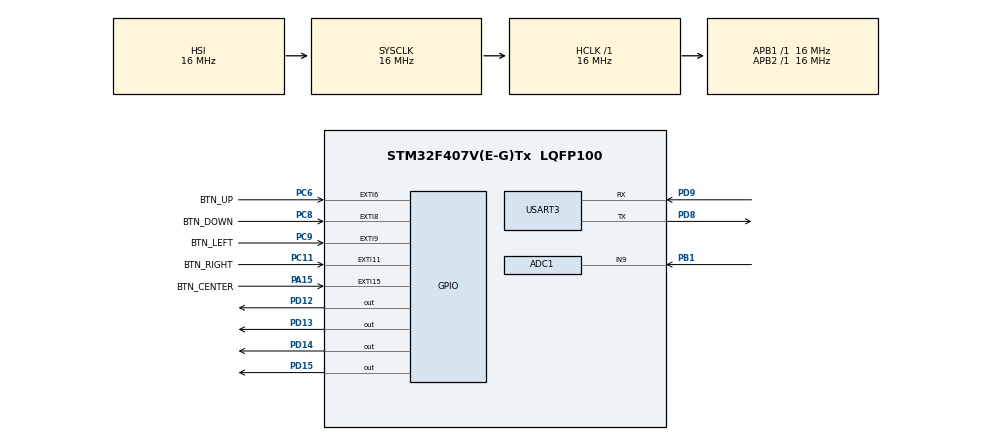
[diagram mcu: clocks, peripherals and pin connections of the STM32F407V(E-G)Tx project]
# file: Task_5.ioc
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ADC1.Channel-0\#ChannelRegularConversion=ADC_CHANNEL_9
ADC1.DMAContinuousRequests=ENABLE
ADC1.EOCSelection=ADC_EOC_SEQ_CONV
ADC1.ExternalTrigConv=ADC_EXTERNALTRIGCONV_T8_TRGO
ADC1.NbrOfConversionFlag=1
ADC1.Rank-0\#ChannelRegularConversion=1
ADC1.SamplingTime-0\#ChannelRegularConversion=ADC_SAMPLETIME_480CYCLES
ADC1.ScanConvMode=ENABLE
ADC1.master=1
Dma.ADC1.0.Direction=DMA_PERIPH_TO_MEMORY
Dma.ADC1.0.FIFOMode=DMA_FIFOMODE_DISABLE
Dma.ADC1.0.Instance=DMA2_Stream0
Dma.ADC1.0.MemDataAlignment=DMA_MDATAALIGN_HALFWORD
Dma.ADC1.0.MemInc=DMA_MINC_ENABLE
Dma.ADC1.0.Mode=DMA_CIRCULAR
Dma.ADC1.0.PeriphDataAlignment=DMA_PDATAALIGN_HALFWORD
Dma.ADC1.0.PeriphInc=DMA_PINC_DISABLE
Dma.ADC1.0.Priority=DMA_PRIORITY_LOW
Dma.Request0=ADC1
Mcu.Family=STM32F4
Mcu.Name=STM32F407V(E-G)Tx
Mcu.Package=LQFP100
NVIC.DMA2_Stream0_IRQn=true\:0\:0\:false\:false\:true\:false\:true
NVIC.EXTI15_10_IRQn=true\:0\:0\:false\:false\:true\:true\:true
NVIC.EXTI9_5_IRQn=true\:0\:0\:false\:false\:true\:true\:true
NVIC.PriorityGroup=NVIC_PRIORITYGROUP_4
NVIC.TIM3_IRQn=true\:1\:0\:true\:false\:true\:true\:true
NVIC.TIM4_IRQn=true\:0\:0\:false\:false\:true\:true\:true
NVIC.USART3_IRQn=true\:0\:0\:false\:false\:true\:true\:true
PA15.GPIO_Label=BTN_CENTER
PA15.GPIO_ModeDefaultEXTI=GPIO_MODE_IT_FALLING
PA15.GPIO_PuPd=GPIO_PULLDOWN
PA15.Signal=GPXTI15
PB1.Signal=ADCx_IN9
PC11.GPIO_Label=BTN_RIGHT
PC11.GPIO_ModeDefaultEXTI=GPIO_MODE_IT_FALLING
PC11.GPIO_PuPd=GPIO_PULLDOWN
PC11.Signal=GPXTI11
PC6.GPIO_Label=BTN_UP
PC6.GPIO_ModeDefaultEXTI=GPIO_MODE_IT_FALLING
PC6.GPIO_PuPd=GPIO_PULLDOWN
PC6.Signal=GPXTI6
PC8.GPIO_Label=BTN_DOWN
PC8.GPIO_ModeDefaultEXTI=GPIO_MODE_IT_FALLING
PC8.GPIO_PuPd=GPIO_PULLDOWN
PC8.Signal=GPXTI8
PC9.GPIO_Label=BTN_LEFT
PC9.GPIO_ModeDefaultEXTI=GPIO_MODE_IT_FALLING
PC9.GPIO_PuPd=GPIO_PULLDOWN
PC9.Signal=GPXTI9
PD12.Signal=GPIO_Output
PD13.Signal=GPIO_Output
PD14.Signal=GPIO_Output
PD15.Signal=GPIO_Output
PD8.Mode=Asynchronous
PD8.Signal=USART3_TX
PD9.Mode=Asynchronous
PD9.Signal=USART3_RX
ProjectManager.HeapSize=0x200
ProjectManager.StackSize=0x400
ProjectManager.TargetToolchain=STM32CubeIDE
RCC.AHBFreq_Value=16000000
RCC.APB1Freq_Value=16000000
RCC.APB2Freq_Value=16000000
RCC.CortexFreq_Value=16000000
RCC.HSE_VALUE=25000000
RCC.HSI_VALUE=16000000
RCC.LSE_VALUE=32768
RCC.SYSCLKFreq_VALUE=16000000
RCC.VCOOutputFreq_Value=192000000
SH.ADCx_IN9.0=ADC1_IN9,IN9
TIM3.AutoReloadPreload=TIM_AUTORELOAD_PRELOAD_ENABLE
TIM3.Period=200
TIM3.Prescaler=1600
TIM3.TIM_MasterOutputTrigger=TIM_TRGO_RESET
TIM4.AutoReloadPreload=TIM_AUTORELOAD_PRELOAD_ENABLE
TIM4.Period=50000
TIM4.Prescaler=1600
TIM8.Period=1000
TIM8.Prescaler=160
TIM8.TIM_MasterOutputTrigger=TIM_TRGO_UPDATE
USART3.VirtualMode=VM_ASYNC
VP_TIM3_VS_ClockSourceINT.Mode=Internal
VP_TIM4_VS_ClockSourceINT.Mode=Internal
VP_TIM8_VS_ClockSourceINT.Mode=Internal
board=custom

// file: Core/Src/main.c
/* USER CODE BEGIN Header */
/**
  ******************************************************************************
  * @file           : main.c
  * @brief          : Main program body
  ******************************************************************************
  * @attention
  *
  * <h2><center>&copy; Copyright (c) 2021 STMicroelectronics.
  * All rights reserved.</center></h2>
  *
  * This software component is licensed by ST under BSD 3-Clause license,
  * the "License"; You may not use this file except in compliance with the
  * License. You may obtain a copy of the License at:
  *                        opensource.org/licenses/BSD-3-Clause
  *
  ******************************************************************************
  */
/* USER CODE END Header */
#include "main.h"

/* USER CODE BEGIN Includes */
#include <string.h>
#include <stdio.h>
/* USER CODE END Includes */

/* USER CODE BEGIN PD */
#define BRD_VOLTAGE 3000 // 3000mV

#define ADC_AVERAGE 32
#define ADC_BUF_SIZE ADC_AVERAGE

#define NUMBER_OF_LEDS 4

/* USER CODE END PD */

ADC_HandleTypeDef hadc1;
DMA_HandleTypeDef hdma_adc1;

TIM_HandleTypeDef htim3;
TIM_HandleTypeDef htim4;
TIM_HandleTypeDef htim8;

UART_HandleTypeDef huart3;

/* USER CODE BEGIN PV */
uint32_t tempValues[ADC_BUF_SIZE]; // adc temperature measurements
int32_t externalSensorTemp = 0; // final external sensor voltage
const uint16_t ledPin[NUMBER_OF_LEDS] = {GPIO_PIN_12, GPIO_PIN_13, GPIO_PIN_14, GPIO_PIN_15};

/* USER CODE END PV */
void SystemClock_Config(void);
static void MX_GPIO_Init(void);
static void MX_TIM4_Init(void);
static void MX_DMA_Init(void);
static void MX_ADC1_Init(void);
static void MX_TIM8_Init(void);
static void MX_USART3_UART_Init(void);
static void MX_TIM3_Init(void);
/* USER CODE BEGIN PFP */
static void transmitLedStatus(GPIO_TypeDef *GPIOx, uint16_t GPIO_Pin, char btnStrOn[32], char btnStrOff[32]);
static void receiveCommand(void);
static void transmitTemperature(int32_t temperature);
static int32_t adcVoltToTemp(void);

/* USER CODE END PFP */

/* USER CODE BEGIN 0 */

void HAL_TIM_PeriodElapsedCallback(TIM_HandleTypeDef *htim)
{
	//Reloading Timer4 every 5 seconds
	if (htim == &htim4 )
	{
		/*Starting Timer8 for ADC's DMA circular reading using Timer4 interrupt */
		HAL_TIM_Base_Start(&htim8);
		HAL_ADC_Start_DMA(&hadc1, (uint32_t *)tempValues, ADC_BUF_SIZE);
	}
	// Pooling UART using Timer3 with secondary priority every 0.02 seconds
	if (htim == &htim3 )
	{
		receiveCommand();
	}
}

static void receiveCommand(void)
{
	char rcvBuf;

	HAL_StatusTypeDef result = HAL_UART_Receive(&huart3, (uint8_t*)&rcvBuf, 1, 10);

	if (result == HAL_OK)
	{
		switch (rcvBuf)
		{
		case '1':
			transmitLedStatus(GPIOD, ledPin[2], "Red LED is On\r\n", "Red LED is Off\r\n");
			break;
		case '2':
			transmitLedStatus(GPIOD, ledPin[3], "Blue LED is On\r\n", "Blue LED is Off\r\n");
			break;
		case '3':
			transmitLedStatus(GPIOD, ledPin[0], "Green LED is On\r\n", "Green LED is Off\r\n");
			break;
		case '4':
			transmitLedStatus(GPIOD, ledPin[1], "Orange LED is On\r\n", "Orange LED is Off\r\n");
			break;
		default:
			HAL_UART_Transmit(&huart3, (uint8_t*) "Unrecognized key\r\n", 15 + 2, 10);
			break;
		}
	}
}

void HAL_ADC_ConvCpltCallback(ADC_HandleTypeDef* hadc)
{

	transmitTemperature(adcVoltToTemp());

	HAL_TIM_Base_Stop(&htim8);
}

static void transmitTemperature(int32_t temperature)
{
	static char tempStr[128];

	snprintf(tempStr, sizeof(tempStr), "Temperature: %d.%d C\r\n", (int)(externalSensorTemp / 10), (int)(externalSensorTemp % 10));
	HAL_UART_Transmit(&huart3, (uint8_t*) tempStr, strlen(tempStr), 10);
}

void HAL_GPIO_EXTI_Callback(uint16_t GPIO_Pin)
{
	switch (GPIO_Pin)
	{
	case BTN_LEFT_Pin:
		transmitLedStatus(GPIOD, ledPin[1], "Orange LED is On\r\n", "Orange LED is Off\r\n");
		break;
	case BTN_DOWN_Pin:
		transmitLedStatus(GPIOD, ledPin[2], "Red LED is On\r\n", "Red LED is Off\r\n");
		break;
	case BTN_RIGHT_Pin:
		transmitLedStatus(GPIOD, ledPin[3], "Blue LED is On\r\n", "Blue LED is Off\r\n");
		break;
	case BTN_UP_Pin:
		transmitLedStatus(GPIOD, ledPin[0], "Green LED is On\r\n", "Green LED is Off\r\n");
		break;
	case BTN_CENTER_Pin:
		HAL_UART_Transmit(&huart3, (uint8_t*) "Unrecognized button\r\n", 19 + 2, 10);
		break;
	}
}

static int32_t adcVoltToTemp(void)
{
	uint16_t *sensBuffer = (uint16_t*)tempValues;

	for (uint8_t i = 0; i < ADC_AVERAGE; i++)
	{
		externalSensorTemp += *sensBuffer++;
	}

	externalSensorTemp = (externalSensorTemp * BRD_VOLTAGE / ADC_AVERAGE) >> 12;
	externalSensorTemp = (-externalSensorTemp * 100) / 200 + 980 ;

	return externalSensorTemp;
}

static void transmitLedStatus(GPIO_TypeDef *GPIOx, uint16_t GPIO_Pin, char btnStrOn[32], char btnStrOff[32] )
{
	if (HAL_GPIO_ReadPin(GPIOx, GPIO_Pin) == GPIO_PIN_RESET)
	{
		HAL_UART_Transmit(&huart3, (uint8_t*) btnStrOn,  strlen(btnStrOn), 10);
	}
	else
	{
		HAL_UART_Transmit(&huart3, (uint8_t*) btnStrOff, strlen(btnStrOff), 10);
	}

	HAL_GPIO_TogglePin(GPIOx, GPIO_Pin);
}

/* USER CODE END 0 */

int main(void)
{

  /* MCU Configuration--------------------------------------------------------*/

  /* Reset of all peripherals, Initializes the Flash interface and the Systick. */
  HAL_Init();

  /* Configure the system clock */
  SystemClock_Config();

  /* Initialize all configured peripherals */
  MX_GPIO_Init();
  MX_TIM4_Init();
  MX_DMA_Init();
  MX_ADC1_Init();
  MX_TIM8_Init();
  MX_USART3_UART_Init();
  MX_TIM3_Init();
  /* USER CODE BEGIN 2 */
  HAL_TIM_Base_Start_IT(&htim4);
  HAL_TIM_Base_Start_IT(&htim3);

  /* USER CODE END 2 */

  /* Infinite loop */
  while (1)
  {

  }
}

void SystemClock_Config(void)
{
  RCC_OscInitTypeDef RCC_OscInitStruct = {0};
  RCC_ClkInitTypeDef RCC_ClkInitStruct = {0};

  /** Configure the main internal regulator output voltage
  */
  __HAL_RCC_PWR_CLK_ENABLE();
  __HAL_PWR_VOLTAGESCALING_CONFIG(PWR_REGULATOR_VOLTAGE_SCALE1);
  /** Initializes the RCC Oscillators according to the specified parameters
  * in the RCC_OscInitTypeDef structure.
  */
  RCC_OscInitStruct.OscillatorType = RCC_OSCILLATORTYPE_HSI;
  RCC_OscInitStruct.HSIState = RCC_HSI_ON;
  RCC_OscInitStruct.HSICalibrationValue = RCC_HSICALIBRATION_DEFAULT;
  RCC_OscInitStruct.PLL.PLLState = RCC_PLL_NONE;
  if (HAL_RCC_OscConfig(&RCC_OscInitStruct) != HAL_OK)
  {
    Error_Handler();
  }
  /** Initializes the CPU, AHB and APB buses clocks
  */
  RCC_ClkInitStruct.ClockType = RCC_CLOCKTYPE_HCLK|RCC_CLOCKTYPE_SYSCLK
                              |RCC_CLOCKTYPE_PCLK1|RCC_CLOCKTYPE_PCLK2;
  RCC_ClkInitStruct.SYSCLKSource = RCC_SYSCLKSOURCE_HSI;
  RCC_ClkInitStruct.AHBCLKDivider = RCC_SYSCLK_DIV1;
  RCC_ClkInitStruct.APB1CLKDivider = RCC_HCLK_DIV1;
  RCC_ClkInitStruct.APB2CLKDivider = RCC_HCLK_DIV1;

  if (HAL_RCC_ClockConfig(&RCC_ClkInitStruct, FLASH_LATENCY_0) != HAL_OK)
  {
    Error_Handler();
  }
}

static void MX_ADC1_Init(void)
{

  ADC_ChannelConfTypeDef sConfig = {0};

  /** Configure the global features of the ADC (Clock, Resolution, Data Alignment and number of conversion)
  */
  hadc1.Instance = ADC1;
  hadc1.Init.ClockPrescaler = ADC_CLOCK_SYNC_PCLK_DIV2;
  hadc1.Init.Resolution = ADC_RESOLUTION_12B;
  hadc1.Init.ScanConvMode = ENABLE;
  hadc1.Init.ContinuousConvMode = DISABLE;
  hadc1.Init.DiscontinuousConvMode = DISABLE;
  hadc1.Init.ExternalTrigConvEdge = ADC_EXTERNALTRIGCONVEDGE_RISING;
  hadc1.Init.ExternalTrigConv = ADC_EXTERNALTRIGCONV_T8_TRGO;
  hadc1.Init.DataAlign = ADC_DATAALIGN_RIGHT;
  hadc1.Init.NbrOfConversion = 1;
  hadc1.Init.DMAContinuousRequests = ENABLE;
  hadc1.Init.EOCSelection = ADC_EOC_SEQ_CONV;
  if (HAL_ADC_Init(&hadc1) != HAL_OK)
  {
    Error_Handler();
  }
  /** Configure for the selected ADC regular channel its corresponding rank in the sequencer and its sample time.
  */
  sConfig.Channel = ADC_CHANNEL_9;
  sConfig.Rank = 1;
  sConfig.SamplingTime = ADC_SAMPLETIME_480CYCLES;
  if (HAL_ADC_ConfigChannel(&hadc1, &sConfig) != HAL_OK)
  {
    Error_Handler();
  }

}

static void MX_TIM3_Init(void)
{

  TIM_ClockConfigTypeDef sClockSourceConfig = {0};
  TIM_MasterConfigTypeDef sMasterConfig = {0};

  htim3.Instance = TIM3;
  htim3.Init.Prescaler = 1600;
  htim3.Init.CounterMode = TIM_COUNTERMODE_UP;
  htim3.Init.Period = 200;
  htim3.Init.ClockDivision = TIM_CLOCKDIVISION_DIV1;
  htim3.Init.AutoReloadPreload = TIM_AUTORELOAD_PRELOAD_ENABLE;
  if (HAL_TIM_Base_Init(&htim3) != HAL_OK)
  {
    Error_Handler();
  }
  sClockSourceConfig.ClockSource = TIM_CLOCKSOURCE_INTERNAL;
  if (HAL_TIM_ConfigClockSource(&htim3, &sClockSourceConfig) != HAL_OK)
  {
    Error_Handler();
  }
  sMasterConfig.MasterOutputTrigger = TIM_TRGO_RESET;
  sMasterConfig.MasterSlaveMode = TIM_MASTERSLAVEMODE_DISABLE;
  if (HAL_TIMEx_MasterConfigSynchronization(&htim3, &sMasterConfig) != HAL_OK)
  {
    Error_Handler();
  }

}

static void MX_TIM4_Init(void)
{

  TIM_ClockConfigTypeDef sClockSourceConfig = {0};
  TIM_MasterConfigTypeDef sMasterConfig = {0};

  htim4.Instance = TIM4;
  htim4.Init.Prescaler = 1600;
  htim4.Init.CounterMode = TIM_COUNTERMODE_UP;
  htim4.Init.Period = 50000;
  htim4.Init.ClockDivision = TIM_CLOCKDIVISION_DIV1;
  htim4.Init.AutoReloadPreload = TIM_AUTORELOAD_PRELOAD_ENABLE;
  if (HAL_TIM_Base_Init(&htim4) != HAL_OK)
  {
    Error_Handler();
  }
  sClockSourceConfig.ClockSource = TIM_CLOCKSOURCE_INTERNAL;
  if (HAL_TIM_ConfigClockSource(&htim4, &sClockSourceConfig) != HAL_OK)
  {
    Error_Handler();
  }
  sMasterConfig.MasterOutputTrigger = TIM_TRGO_RESET;
  sMasterConfig.MasterSlaveMode = TIM_MASTERSLAVEMODE_DISABLE;
  if (HAL_TIMEx_MasterConfigSynchronization(&htim4, &sMasterConfig) != HAL_OK)
  {
    Error_Handler();
  }

}

static void MX_TIM8_Init(void)
{

  TIM_ClockConfigTypeDef sClockSourceConfig = {0};
  TIM_MasterConfigTypeDef sMasterConfig = {0};

  htim8.Instance = TIM8;
  htim8.Init.Prescaler = 160;
  htim8.Init.CounterMode = TIM_COUNTERMODE_UP;
  htim8.Init.Period = 1000;
  htim8.Init.ClockDivision = TIM_CLOCKDIVISION_DIV1;
  htim8.Init.RepetitionCounter = 0;
  htim8.Init.AutoReloadPreload = TIM_AUTORELOAD_PRELOAD_DISABLE;
  if (HAL_TIM_Base_Init(&htim8) != HAL_OK)
  {
    Error_Handler();
  }
  sClockSourceConfig.ClockSource = TIM_CLOCKSOURCE_INTERNAL;
  if (HAL_TIM_ConfigClockSource(&htim8, &sClockSourceConfig) != HAL_OK)
  {
    Error_Handler();
  }
  sMasterConfig.MasterOutputTrigger = TIM_TRGO_UPDATE;
  sMasterConfig.MasterSlaveMode = TIM_MASTERSLAVEMODE_DISABLE;
  if (HAL_TIMEx_MasterConfigSynchronization(&htim8, &sMasterConfig) != HAL_OK)
  {
    Error_Handler();
  }

}

static void MX_USART3_UART_Init(void)
{

  huart3.Instance = USART3;
  huart3.Init.BaudRate = 115200;
  huart3.Init.WordLength = UART_WORDLENGTH_8B;
  huart3.Init.StopBits = UART_STOPBITS_1;
  huart3.Init.Parity = UART_PARITY_NONE;
  huart3.Init.Mode = UART_MODE_TX_RX;
  huart3.Init.HwFlowCtl = UART_HWCONTROL_NONE;
  huart3.Init.OverSampling = UART_OVERSAMPLING_16;
  if (HAL_UART_Init(&huart3) != HAL_OK)
  {
    Error_Handler();
  }

}

static void MX_DMA_Init(void)
{

  /* DMA controller clock enable */
  __HAL_RCC_DMA2_CLK_ENABLE();

  /* DMA interrupt init */
  /* DMA2_Stream0_IRQn interrupt configuration */
  HAL_NVIC_SetPriority(DMA2_Stream0_IRQn, 0, 0);
  HAL_NVIC_EnableIRQ(DMA2_Stream0_IRQn);

}

static void MX_GPIO_Init(void)
{
  GPIO_InitTypeDef GPIO_InitStruct = {0};

  /* GPIO Ports Clock Enable */
  __HAL_RCC_GPIOB_CLK_ENABLE();
  __HAL_RCC_GPIOD_CLK_ENABLE();
  __HAL_RCC_GPIOC_CLK_ENABLE();
  __HAL_RCC_GPIOA_CLK_ENABLE();

  /*Configure GPIO pin Output Level */
  HAL_GPIO_WritePin(GPIOD, GPIO_PIN_12|GPIO_PIN_13|GPIO_PIN_14|GPIO_PIN_15, GPIO_PIN_RESET);

  /*Configure GPIO pins : PD12 PD13 PD14 PD15 */
  GPIO_InitStruct.Pin = GPIO_PIN_12|GPIO_PIN_13|GPIO_PIN_14|GPIO_PIN_15;
  GPIO_InitStruct.Mode = GPIO_MODE_OUTPUT_PP;
  GPIO_InitStruct.Pull = GPIO_NOPULL;
  GPIO_InitStruct.Speed = GPIO_SPEED_FREQ_LOW;
  HAL_GPIO_Init(GPIOD, &GPIO_InitStruct);

  /*Configure GPIO pins : BTN_UP_Pin BTN_DOWN_Pin BTN_LEFT_Pin BTN_RIGHT_Pin */
  GPIO_InitStruct.Pin = BTN_UP_Pin|BTN_DOWN_Pin|BTN_LEFT_Pin|BTN_RIGHT_Pin;
  GPIO_InitStruct.Mode = GPIO_MODE_IT_FALLING;
  GPIO_InitStruct.Pull = GPIO_PULLDOWN;
  HAL_GPIO_Init(GPIOC, &GPIO_InitStruct);

  /*Configure GPIO pin : BTN_CENTER_Pin */
  GPIO_InitStruct.Pin = BTN_CENTER_Pin;
  GPIO_InitStruct.Mode = GPIO_MODE_IT_FALLING;
  GPIO_InitStruct.Pull = GPIO_PULLDOWN;
  HAL_GPIO_Init(BTN_CENTER_GPIO_Port, &GPIO_InitStruct);

  /* EXTI interrupt init*/
  HAL_NVIC_SetPriority(EXTI9_5_IRQn, 0, 0);
  HAL_NVIC_EnableIRQ(EXTI9_5_IRQn);

  HAL_NVIC_SetPriority(EXTI15_10_IRQn, 0, 0);
  HAL_NVIC_EnableIRQ(EXTI15_10_IRQn);

}

void Error_Handler(void)
{
  __disable_irq();
  while (1)
  {
  }
}

/************************ (C) COPYRIGHT STMicroelectronics *****END OF FILE****/
